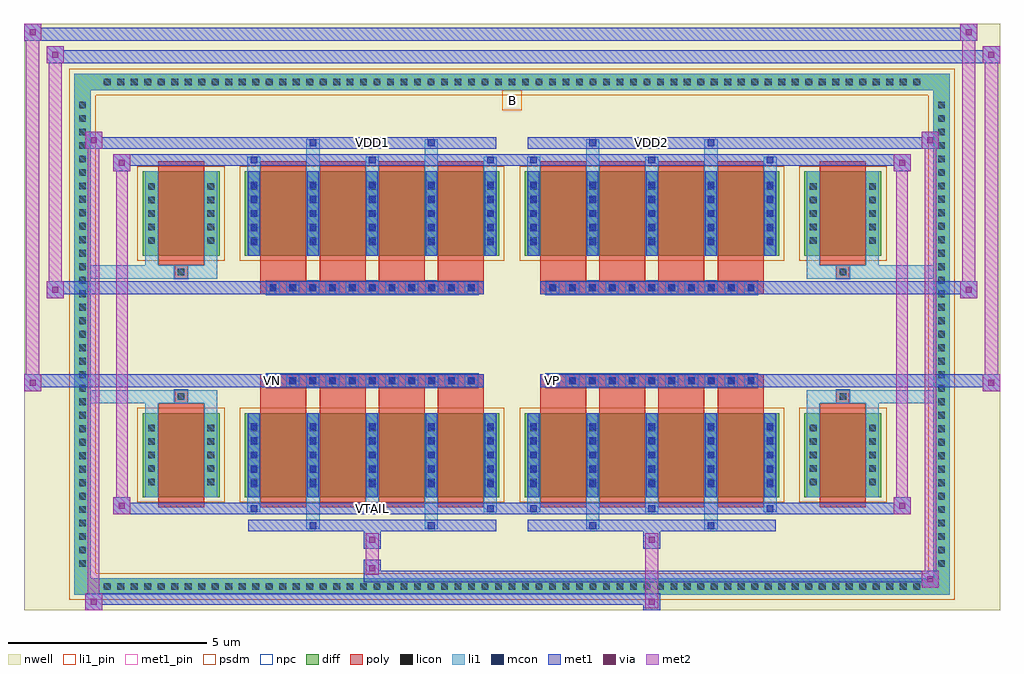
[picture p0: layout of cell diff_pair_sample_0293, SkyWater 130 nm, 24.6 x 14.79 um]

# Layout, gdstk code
import gdstk
lib = gdstk.Library(unit=1e-6, precision=5e-09)
def R(c, l, rs):  # rectangles x0, y0, x1, y1
    for r in rs: c.add(gdstk.rectangle(r[:2], r[2:], *l))
def A(c, l, x, y, w, h, nx, ny, dx, dy):  # array of equal rectangles
    R(c, l, [(x+i*dx, y+j*dy, x+i*dx+w, y+j*dy+h) for i in range(nx) for j in range(ny)])
def P(c, l, *ps):  # polygons
    for p in ps: c.add(gdstk.Polygon(p, *l))
nwell = (64, 20)
diff = (65, 20)
poly = (66, 20)
licon = (66, 44)
li1_pin = (67, 16)
li1 = (67, 20)
mcon = (67, 44)
met1_pin = (68, 16)
met1 = (68, 20)
via = (68, 44)
met2 = (69, 20)
psdm = (94, 20)
npc = (95, 20)

diff_pair_sample_0293 = lib.new_cell('diff_pair_sample_0293')
R(diff_pair_sample_0293, nwell, [(-12.3,-6.96,12.3,7.83), (-9.62,-5.15,-0.01,-0.805), (0.01,-5.15,9.62,-0.805), (-9.62,0.805,-0.01,5.15), (0.01,0.805,9.62,5.15)])
A(diff_pair_sample_0293, diff, -10.405, -6.56, 0.41, 0.41, 61, 2, 0.34, 12.71)
A(diff_pair_sample_0293, diff, -11.03, -5.985, 0.41, 0.41, 1, 35, 0, 0.34)
A(diff_pair_sample_0293, diff, 10.62, -5.985, 0.41, 0.41, 1, 35, 0, 0.34)
R(diff_pair_sample_0293, diff, [(-10.405,-6.56,10.405,-6.15), (-11.03,-5.985,-10.62,5.985), (10.62,-5.985,11.03,5.985), (-9.31,-4.105,-7.37,-1.985), (-6.73,-4.105,-0.32,-1.985), (0.32,-4.105,6.73,-1.985), (7.37,-4.105,9.31,-1.985), (-9.31,1.985,-7.37,4.105), (-6.73,1.985,-0.32,4.105), (0.32,1.985,6.73,4.105), (7.37,1.985,9.31,4.105), (-10.405,6.15,10.405,6.56)])
P(diff_pair_sample_0293, diff, [(11.03,6.56),(-11.03,6.56),(-11.03,-6.15),(-10.62,-6.15),(-10.62,6.15),(10.62,6.15),(10.62,-6.15),(-10.62,-6.15),(-11.03,-6.15),(-11.03,-6.56),(11.03,-6.56)])
A(diff_pair_sample_0293, poly, -6.34, -4.355, 1.16, 2.62, 4, 2, 1.49, 6.09)
A(diff_pair_sample_0293, poly, 0.71, -4.355, 1.16, 2.62, 4, 2, 1.49, 6.09)
A(diff_pair_sample_0293, poly, -6.34, -1.735, 1.16, 0.4, 4, 2, 1.49, 3.07)
A(diff_pair_sample_0293, poly, 0.71, -1.735, 1.16, 0.4, 4, 2, 1.49, 3.07)
A(diff_pair_sample_0293, poly, -6.19, -1.335, 0.33, 0.33, 11, 2, 0.5, 2.34)
A(diff_pair_sample_0293, poly, 0.86, -1.335, 0.33, 0.33, 11, 2, 0.5, 2.34)
R(diff_pair_sample_0293, poly, [(-8.92,-4.355,-7.76,-1.735), (7.76,-4.355,8.92,-1.735), (-8.505,-1.735,-8.175,-1.405), (-8.505,-1.735,-8.175,-1.405), (8.175,-1.735,8.505,-1.405), (8.175,-1.735,8.505,-1.405), (-6.34,-1.335,-0.71,-1.005), (0.71,-1.335,6.34,-1.005), (-6.34,1.005,-0.71,1.335), (0.71,1.005,6.34,1.335), (-8.505,1.405,-8.175,1.735), (-8.505,1.405,-8.175,1.735), (8.175,1.405,8.505,1.735), (8.175,1.405,8.505,1.735), (-8.92,1.735,-7.76,4.355), (7.76,1.735,8.92,4.355)])
A(diff_pair_sample_0293, licon, -10.285, -6.44, 0.17, 0.17, 61, 2, 0.34, 12.71)
A(diff_pair_sample_0293, licon, -10.91, -5.865, 0.17, 0.17, 1, 35, 0, 0.34)
A(diff_pair_sample_0293, licon, 10.74, -5.865, 0.17, 0.17, 1, 35, 0, 0.34)
A(diff_pair_sample_0293, licon, -9.17, -3.81, 0.17, 0.17, 1, 5, 0, 0.34)
A(diff_pair_sample_0293, licon, -7.68, -3.81, 0.17, 0.17, 1, 5, 0, 0.34)
A(diff_pair_sample_0293, licon, -6.59, -3.81, 0.17, 0.17, 5, 5, 1.49, 0.34)
A(diff_pair_sample_0293, licon, 0.46, -3.81, 0.17, 0.17, 5, 5, 1.49, 0.34)
A(diff_pair_sample_0293, licon, 7.51, -3.81, 0.17, 0.17, 1, 5, 0, 0.34)
A(diff_pair_sample_0293, licon, 9, -3.81, 0.17, 0.17, 1, 5, 0, 0.34)
A(diff_pair_sample_0293, licon, -6.11, -1.255, 0.17, 0.17, 11, 2, 0.5, 2.34)
A(diff_pair_sample_0293, licon, 0.94, -1.255, 0.17, 0.17, 11, 2, 0.5, 2.34)
A(diff_pair_sample_0293, licon, -9.17, 2.28, 0.17, 0.17, 1, 5, 0, 0.34)
A(diff_pair_sample_0293, licon, -7.68, 2.28, 0.17, 0.17, 1, 5, 0, 0.34)
A(diff_pair_sample_0293, licon, -6.59, 2.28, 0.17, 0.17, 5, 5, 1.49, 0.34)
A(diff_pair_sample_0293, licon, 0.46, 2.28, 0.17, 0.17, 5, 5, 1.49, 0.34)
A(diff_pair_sample_0293, licon, 7.51, 2.28, 0.17, 0.17, 1, 5, 0, 0.34)
A(diff_pair_sample_0293, licon, 9, 2.28, 0.17, 0.17, 1, 5, 0, 0.34)
R(diff_pair_sample_0293, licon, [(-8.425,-1.655,-8.255,-1.485), (8.255,-1.655,8.425,-1.485), (-8.425,1.485,-8.255,1.655), (8.255,1.485,8.425,1.655)])
R(diff_pair_sample_0293, li1_pin, [(-0.25,5.65,0.25,6.15)])
A(diff_pair_sample_0293, li1, -10.365, -6.52, 0.33, 0.33, 61, 2, 0.34, 12.71)
A(diff_pair_sample_0293, li1, -10.99, -5.945, 0.33, 0.33, 1, 35, 0, 0.34)
A(diff_pair_sample_0293, li1, 10.66, -5.945, 0.33, 0.33, 1, 35, 0, 0.34)
A(diff_pair_sample_0293, li1, -6.67, -4.48, 0.33, 0.375, 3, 2, 2.98, 8.585)
A(diff_pair_sample_0293, li1, -6.59, -4.48, 0.17, 0.17, 3, 2, 2.98, 8.79)
A(diff_pair_sample_0293, li1, 0.38, -4.48, 0.33, 0.375, 3, 2, 2.98, 8.585)
A(diff_pair_sample_0293, li1, 0.46, -4.48, 0.17, 0.17, 3, 2, 2.98, 8.79)
A(diff_pair_sample_0293, li1, -6.67, -4.105, 0.33, 2.12, 5, 2, 1.49, 6.09)
A(diff_pair_sample_0293, li1, 0.38, -4.105, 0.33, 2.12, 5, 2, 1.49, 6.09)
A(diff_pair_sample_0293, li1, -9.25, -3.89, 0.33, 0.33, 1, 5, 0, 0.34)
A(diff_pair_sample_0293, li1, -7.76, -3.89, 0.33, 0.33, 1, 5, 0, 0.34)
A(diff_pair_sample_0293, li1, -6.67, -3.89, 0.33, 0.33, 5, 5, 1.49, 0.34)
A(diff_pair_sample_0293, li1, 0.38, -3.89, 0.33, 0.33, 5, 5, 1.49, 0.34)
A(diff_pair_sample_0293, li1, 7.43, -3.89, 0.33, 0.33, 1, 5, 0, 0.34)
A(diff_pair_sample_0293, li1, 8.92, -3.89, 0.33, 0.33, 1, 5, 0, 0.34)
A(diff_pair_sample_0293, li1, -6.59, -3.85, 0.17, 0.17, 5, 5, 1.49, 0.36)
A(diff_pair_sample_0293, li1, -6.59, -3.85, 0.17, 1.61, 5, 2, 1.49, 6.09)
A(diff_pair_sample_0293, li1, 0.46, -3.85, 0.17, 0.17, 5, 5, 1.49, 0.36)
A(diff_pair_sample_0293, li1, 0.46, -3.85, 0.17, 1.61, 5, 2, 1.49, 6.09)
A(diff_pair_sample_0293, li1, -6.19, -1.335, 0.33, 0.33, 11, 2, 0.5, 2.34)
A(diff_pair_sample_0293, li1, 0.86, -1.335, 0.33, 0.33, 11, 2, 0.5, 2.34)
A(diff_pair_sample_0293, li1, -9.25, 2.2, 0.33, 0.33, 1, 5, 0, 0.34)
A(diff_pair_sample_0293, li1, -7.76, 2.2, 0.33, 0.33, 1, 5, 0, 0.34)
A(diff_pair_sample_0293, li1, -6.67, 2.2, 0.33, 0.33, 5, 5, 1.49, 0.34)
A(diff_pair_sample_0293, li1, 0.38, 2.2, 0.33, 0.33, 5, 5, 1.49, 0.34)
A(diff_pair_sample_0293, li1, 7.43, 2.2, 0.33, 0.33, 1, 5, 0, 0.34)
A(diff_pair_sample_0293, li1, 8.92, 2.2, 0.33, 0.33, 1, 5, 0, 0.34)
A(diff_pair_sample_0293, li1, -6.59, 2.24, 0.17, 0.17, 5, 5, 1.49, 0.36)
A(diff_pair_sample_0293, li1, 0.46, 2.24, 0.17, 0.17, 5, 5, 1.49, 0.36)
R(diff_pair_sample_0293, li1, [(-11.03,-6.56,-10.62,-6.15), (-11.03,-6.56,-10.62,-6.15), (-10.62,-6.56,10.62,-6.15), (10.62,-6.56,11.03,-6.15), (10.62,-6.56,11.03,-6.15), (-11.03,-6.15,-10.62,6.15), (10.62,-6.15,11.03,6.15), (-5.18,-4.91,-4.85,-4.105), (-5.1,-4.91,-4.93,-4.74), (-2.2,-4.91,-1.87,-4.105), (-2.12,-4.91,-1.95,-4.74), (1.87,-4.91,2.2,-4.105), (1.95,-4.91,2.12,-4.74), (4.85,-4.91,5.18,-4.105), (4.93,-4.91,5.1,-4.74), (-9.25,-4.105,-8.92,-1.985), (-7.76,-4.105,-7.43,-1.985), (7.43,-4.105,7.76,-1.985), (8.92,-4.105,9.25,-1.985), (-9.25,-1.985,-8.92,-1.405), (-7.76,-1.985,-7.43,-1.405), (7.43,-1.985,7.76,-1.405), (8.92,-1.985,9.25,-1.405), (-11.03,-1.735,-8.505,-1.405), (-9.25,-1.735,-8.505,-1.405), (-8.505,-1.735,-8.175,-1.405), (-8.175,-1.735,-7.43,-1.405), (7.43,-1.735,8.175,-1.405), (8.175,-1.735,8.505,-1.405), (8.175,-1.735,11.03,-1.405), (8.505,-1.735,9.25,-1.405), (-11.03,1.405,-8.505,1.735), (-9.25,1.405,-8.505,1.735), (-9.25,1.405,-8.92,1.985), (-8.505,1.405,-8.175,1.735), (-8.175,1.405,-7.43,1.735), (-7.76,1.405,-7.43,1.985), (7.43,1.405,8.175,1.735), (7.43,1.405,7.76,1.985), (8.175,1.405,8.505,1.735), (8.175,1.405,11.03,1.735), (8.505,1.405,9.25,1.735), (8.92,1.405,9.25,1.985), (-9.25,1.985,-8.92,4.105), (-7.76,1.985,-7.43,4.105), (7.43,1.985,7.76,4.105), (8.92,1.985,9.25,4.105), (-5.18,4.105,-4.85,4.91), (-2.2,4.105,-1.87,4.91), (1.87,4.105,2.2,4.91), (4.85,4.105,5.18,4.91), (-5.1,4.74,-4.93,4.91), (-2.12,4.74,-1.95,4.91), (1.95,4.74,2.12,4.91), (4.93,4.74,5.1,4.91), (-11.03,6.15,-10.62,6.56), (-11.03,6.15,-10.62,6.56), (-10.62,6.15,10.62,6.56), (10.62,6.15,11.03,6.56), (10.62,6.15,11.03,6.56)])
A(diff_pair_sample_0293, mcon, -6.59, -4.48, 0.17, 0.17, 3, 2, 2.98, 8.79)
A(diff_pair_sample_0293, mcon, 0.46, -4.48, 0.17, 0.17, 3, 2, 2.98, 8.79)
A(diff_pair_sample_0293, mcon, -6.59, -3.85, 0.17, 0.17, 5, 5, 1.49, 0.36)
A(diff_pair_sample_0293, mcon, 0.46, -3.85, 0.17, 0.17, 5, 5, 1.49, 0.36)
A(diff_pair_sample_0293, mcon, -6.11, -1.255, 0.17, 0.17, 11, 2, 0.5, 2.34)
A(diff_pair_sample_0293, mcon, 0.94, -1.255, 0.17, 0.17, 11, 2, 0.5, 2.34)
A(diff_pair_sample_0293, mcon, -6.59, 2.24, 0.17, 0.17, 5, 5, 1.49, 0.36)
A(diff_pair_sample_0293, mcon, 0.46, 2.24, 0.17, 0.17, 5, 5, 1.49, 0.36)
R(diff_pair_sample_0293, mcon, [(-5.1,-4.91,-4.93,-4.74), (-2.12,-4.91,-1.95,-4.74), (1.95,-4.91,2.12,-4.74), (4.93,-4.91,5.1,-4.74), (-5.1,4.74,-4.93,4.91), (-2.12,4.74,-1.95,4.91), (1.95,4.74,2.12,4.91), (4.93,4.74,5.1,4.91)])
R(diff_pair_sample_0293, met1_pin, [(-3.66,-4.52,-3.39,-4.25), (-6.16,-1.295,-5.89,-1.025), (0.89,-1.295,1.16,-1.025), (-3.66,4.7,-3.39,4.97), (3.39,4.7,3.66,4.97)])
A(diff_pair_sample_0293, met1, -6.65, -4.54, 0.29, 0.29, 3, 2, 2.98, 8.79)
A(diff_pair_sample_0293, met1, 0.4, -4.54, 0.29, 0.29, 3, 2, 2.98, 8.79)
A(diff_pair_sample_0293, met1, -6.65, -4.105, 0.29, 2.12, 5, 2, 1.49, 6.09)
A(diff_pair_sample_0293, met1, 0.4, -4.105, 0.29, 2.12, 5, 2, 1.49, 6.09)
A(diff_pair_sample_0293, met1, -6.65, -3.91, 0.29, 0.29, 5, 5, 1.49, 0.36)
A(diff_pair_sample_0293, met1, 0.4, -3.91, 0.29, 0.29, 5, 5, 1.49, 0.36)
A(diff_pair_sample_0293, met1, -6.17, -1.315, 0.29, 0.29, 11, 2, 0.5, 2.34)
A(diff_pair_sample_0293, met1, 0.88, -1.315, 0.29, 0.29, 11, 2, 0.5, 2.34)
A(diff_pair_sample_0293, met1, -6.65, 2.18, 0.29, 0.29, 5, 5, 1.49, 0.36)
A(diff_pair_sample_0293, met1, 0.4, 2.18, 0.29, 0.29, 5, 5, 1.49, 0.36)
R(diff_pair_sample_0293, met1, [(-10.76,-6.96,-10.33,-6.53), (3.31,-6.96,3.74,-6.53), (-10.76,-6.82,3.74,-6.53), (10.33,-6.39,10.76,-5.96), (-3.74,-6.25,10.76,-5.96), (-3.74,-6.11,-3.31,-5.68), (-3.74,-5.4,-3.31,-4.97), (3.31,-5.4,3.74,-4.97), (-6.65,-4.97,-0.4,-4.68), (-5.16,-4.97,-4.87,-4.68), (-2.18,-4.97,-1.89,-4.68), (0.4,-4.97,6.65,-4.68), (1.89,-4.97,2.18,-4.68), (4.87,-4.97,5.16,-4.68), (-10.05,-4.54,-9.62,-4.11), (-10.05,-4.54,-6.65,-4.25), (-6.65,-4.54,-0.4,-4.25), (-0.4,-4.54,0.4,-4.25), (0.4,-4.54,6.65,-4.25), (6.65,-4.54,10.05,-4.25), (9.62,-4.54,10.05,-4.11), (-12.3,-1.435,-11.87,-1.005), (11.87,-1.435,12.3,-1.005), (-12.3,-1.335,-0.71,-1.005), (-6.34,-1.335,-0.71,-1.005), (0.71,-1.335,6.34,-1.005), (0.71,-1.335,12.3,-1.005), (-11.73,0.905,-11.3,1.335), (11.3,0.905,11.73,1.335), (-11.73,1.005,-6.34,1.335), (-6.34,1.005,-0.71,1.335), (0.71,1.005,6.34,1.335), (6.34,1.005,11.73,1.335), (-10.05,4.11,-9.62,4.54), (9.62,4.11,10.05,4.54), (-10.05,4.25,-6.65,4.54), (-6.65,4.25,-0.4,4.54), (-0.4,4.25,0.4,4.54), (0.4,4.25,6.65,4.54), (6.65,4.25,10.05,4.54), (-10.76,4.68,-10.33,5.11), (-10.76,4.68,-6.65,4.97), (-6.65,4.68,-0.4,4.97), (-5.16,4.68,-4.87,4.97), (-2.18,4.68,-1.89,4.97), (0.4,4.68,6.65,4.97), (1.89,4.68,2.18,4.97), (4.87,4.68,5.16,4.97), (6.65,4.68,10.76,4.97), (10.33,4.68,10.76,5.11), (-11.73,6.83,-11.3,7.26), (-11.73,6.83,-9.62,7.16), (-9.62,6.83,9.62,7.16), (9.62,6.83,12.3,7.16), (11.87,6.83,12.3,7.26), (-12.3,7.4,-11.87,7.83), (-12.3,7.4,-9.62,7.73), (-9.62,7.4,9.62,7.73), (9.62,7.4,11.73,7.73), (11.3,7.4,11.73,7.83)])
R(diff_pair_sample_0293, via, [(-10.62,-6.82,-10.47,-6.67), (3.45,-6.82,3.6,-6.67), (10.47,-6.25,10.62,-6.1), (-3.6,-5.97,-3.45,-5.82), (-3.6,-5.26,-3.45,-5.11), (3.45,-5.26,3.6,-5.11), (-9.91,-4.4,-9.76,-4.25), (9.76,-4.4,9.91,-4.25), (-12.16,-1.295,-12.01,-1.145), (12.01,-1.295,12.16,-1.145), (-11.59,1.045,-11.44,1.195), (11.44,1.045,11.59,1.195), (-9.91,4.25,-9.76,4.4), (9.76,4.25,9.91,4.4), (-10.62,4.82,-10.47,4.97), (10.47,4.82,10.62,4.97), (-11.59,6.97,-11.44,7.12), (12.01,6.97,12.16,7.12), (-12.16,7.54,-12.01,7.69), (11.44,7.54,11.59,7.69)])
R(diff_pair_sample_0293, met2, [(-10.76,-6.96,-10.33,-6.53), (-10.69,-6.96,-10.4,5.11), (-10.4,-6.96,-10.33,-6.53), (-10.71,-6.91,-10.38,-6.58), (3.36,-6.91,3.69,-6.58), (3.36,-6.58,3.69,-5.35), (10.33,-6.39,10.76,-5.96), (10.4,-6.39,10.69,5.11), (10.69,-6.39,10.76,-5.96), (10.38,-6.34,10.71,-6.01), (-3.69,-6.06,-3.36,-5.73), (-3.69,-5.73,-3.36,-5.35), (-3.69,-5.35,-3.36,-5.02), (3.36,-5.35,3.69,-5.02), (-10.05,-4.54,-9.62,-4.11), (-9.98,-4.54,-9.69,4.54), (-9.69,-4.54,-9.62,-4.11), (9.62,-4.54,10.05,-4.11), (9.69,-4.54,9.98,4.54), (9.98,-4.54,10.05,-4.11), (-10,-4.49,-9.67,-4.16), (9.67,-4.49,10,-4.16), (-12.3,-1.435,-11.87,-1.005), (-12.25,-1.435,-11.92,7.83), (-11.92,-1.435,-11.87,-1.005), (11.87,-1.435,12.3,-1.005), (11.92,-1.435,12.25,7.26), (12.25,-1.435,12.3,-1.005), (-12.25,-1.385,-11.92,-1.055), (11.92,-1.385,12.25,-1.055), (-11.73,0.905,-11.3,1.335), (-11.68,0.905,-11.35,7.26), (-11.35,0.905,-11.3,1.335), (11.3,0.905,11.73,1.335), (11.35,0.905,11.68,7.83), (11.68,0.905,11.73,1.335), (-11.68,0.955,-11.35,1.285), (11.35,0.955,11.68,1.285), (-10.05,4.11,-9.62,4.54), (-9.69,4.11,-9.62,4.54), (9.62,4.11,10.05,4.54), (9.98,4.11,10.05,4.54), (-10,4.16,-9.67,4.49), (9.67,4.16,10,4.49), (-10.76,4.68,-10.33,5.11), (-10.4,4.68,-10.33,5.11), (10.33,4.68,10.76,5.11), (10.69,4.68,10.76,5.11), (-10.71,4.73,-10.38,5.06), (10.38,4.73,10.71,5.06), (-11.73,6.83,-11.3,7.26), (-11.35,6.83,-11.3,7.26), (11.87,6.83,12.3,7.26), (12.25,6.83,12.3,7.26), (-11.68,6.88,-11.35,7.21), (11.92,6.88,12.25,7.21), (-12.3,7.4,-11.87,7.83), (-11.92,7.4,-11.87,7.83), (11.3,7.4,11.73,7.83), (11.68,7.4,11.73,7.83), (-12.25,7.45,-11.92,7.78), (11.35,7.45,11.68,7.78)])
R(diff_pair_sample_0293, psdm, [(-9.44,-4.235,-7.24,-1.855), (-6.86,-4.235,-0.19,-1.855), (0.19,-4.235,6.86,-1.855), (7.24,-4.235,9.44,-1.855), (-9.44,1.855,-7.24,4.235), (-6.86,1.855,-0.19,4.235), (0.19,1.855,6.86,4.235), (7.24,1.855,9.44,4.235)])
P(diff_pair_sample_0293, psdm, [(11.16,6.69),(-11.16,6.69),(-11.16,-6.02),(-10.49,-6.02),(-10.49,6.02),(10.49,6.02),(10.49,-6.02),(-10.49,-6.02),(-11.16,-6.02),(-11.16,-6.69),(11.16,-6.69)])
A(diff_pair_sample_0293, npc, -6.21, -1.355, 0.37, 0.37, 11, 2, 0.5, 2.34)
A(diff_pair_sample_0293, npc, 0.84, -1.355, 0.37, 0.37, 11, 2, 0.5, 2.34)
R(diff_pair_sample_0293, npc, [(-8.525,-1.755,-8.155,-1.385), (8.155,-1.755,8.525,-1.385), (-6.21,-1.355,-5.34,-0.985), (-6.21,-1.355,-5.34,-0.985), (-5.71,-1.355,-4.84,-0.985), (-5.71,-1.355,-4.84,-0.985), (-5.21,-1.355,-4.34,-0.985), (-5.21,-1.355,-4.34,-0.985), (-4.71,-1.355,-3.84,-0.985), (-4.71,-1.355,-3.84,-0.985), (-4.21,-1.355,-3.34,-0.985), (-4.21,-1.355,-3.34,-0.985), (-3.71,-1.355,-2.84,-0.985), (-3.71,-1.355,-2.84,-0.985), (-3.21,-1.355,-2.34,-0.985), (-3.21,-1.355,-2.34,-0.985), (-2.71,-1.355,-1.84,-0.985), (-2.71,-1.355,-1.84,-0.985), (-2.21,-1.355,-1.34,-0.985), (-2.21,-1.355,-1.34,-0.985), (-1.71,-1.355,-0.84,-0.985), (-1.71,-1.355,-0.84,-0.985), (0.84,-1.355,1.71,-0.985), (0.84,-1.355,1.71,-0.985), (1.34,-1.355,2.21,-0.985), (1.34,-1.355,2.21,-0.985), (1.84,-1.355,2.71,-0.985), (1.84,-1.355,2.71,-0.985), (2.34,-1.355,3.21,-0.985), (2.34,-1.355,3.21,-0.985), (2.84,-1.355,3.71,-0.985), (2.84,-1.355,3.71,-0.985), (3.34,-1.355,4.21,-0.985), (3.34,-1.355,4.21,-0.985), (3.84,-1.355,4.71,-0.985), (3.84,-1.355,4.71,-0.985), (4.34,-1.355,5.21,-0.985), (4.34,-1.355,5.21,-0.985), (4.84,-1.355,5.71,-0.985), (4.84,-1.355,5.71,-0.985), (5.34,-1.355,6.21,-0.985), (5.34,-1.355,6.21,-0.985), (-6.21,0.985,-5.34,1.355), (-6.21,0.985,-5.34,1.355), (-5.71,0.985,-4.84,1.355), (-5.71,0.985,-4.84,1.355), (-5.21,0.985,-4.34,1.355), (-5.21,0.985,-4.34,1.355), (-4.71,0.985,-3.84,1.355), (-4.71,0.985,-3.84,1.355), (-4.21,0.985,-3.34,1.355), (-4.21,0.985,-3.34,1.355), (-3.71,0.985,-2.84,1.355), (-3.71,0.985,-2.84,1.355), (-3.21,0.985,-2.34,1.355), (-3.21,0.985,-2.34,1.355), (-2.71,0.985,-1.84,1.355), (-2.71,0.985,-1.84,1.355), (-2.21,0.985,-1.34,1.355), (-2.21,0.985,-1.34,1.355), (-1.71,0.985,-0.84,1.355), (-1.71,0.985,-0.84,1.355), (0.84,0.985,1.71,1.355), (0.84,0.985,1.71,1.355), (1.34,0.985,2.21,1.355), (1.34,0.985,2.21,1.355), (1.84,0.985,2.71,1.355), (1.84,0.985,2.71,1.355), (2.34,0.985,3.21,1.355), (2.34,0.985,3.21,1.355), (2.84,0.985,3.71,1.355), (2.84,0.985,3.71,1.355), (3.34,0.985,4.21,1.355), (3.34,0.985,4.21,1.355), (3.84,0.985,4.71,1.355), (3.84,0.985,4.71,1.355), (4.34,0.985,5.21,1.355), (4.34,0.985,5.21,1.355), (4.84,0.985,5.71,1.355), (4.84,0.985,5.71,1.355), (5.34,0.985,6.21,1.355), (5.34,0.985,6.21,1.355), (-8.525,1.385,-8.155,1.755), (8.155,1.385,8.525,1.755)])
diff_pair_sample_0293.add(gdstk.Label('VTAIL', (-3.525,-4.385), layer=68, texttype=5))
diff_pair_sample_0293.add(gdstk.Label('VN', (-6.025,-1.16), layer=68, texttype=5))
diff_pair_sample_0293.add(gdstk.Label('VP', (1.025,-1.16), layer=68, texttype=5))
diff_pair_sample_0293.add(gdstk.Label('B', (0,5.9), layer=67, texttype=5))
diff_pair_sample_0293.add(gdstk.Label('VDD2', (3.525,4.835), layer=68, texttype=5))
diff_pair_sample_0293.add(gdstk.Label('VDD1', (-3.525,4.835), layer=68, texttype=5))

lib.write_gds('diff_pair_sample_0293.gds')
